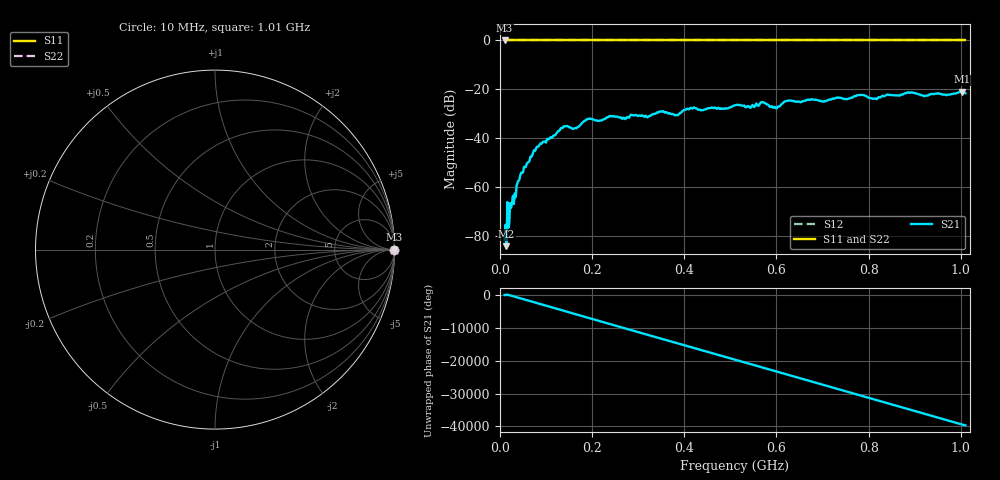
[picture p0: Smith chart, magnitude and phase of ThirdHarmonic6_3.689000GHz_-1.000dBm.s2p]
! 8/17/2025 12:30:43 PM
! C:\ANRITSUVNA\TEMP\TEMP.S2P
! CHANNEL.1
! TR.MEASUREMENT
! RAW.DATA
! RF.CORRECTION.OFF
! AVERAGING.OFF
! IF.BANDWIDTH: 5KHZ
! SWEEPTYPE:  FREQ.SWEEP(Linear)
! Reference Plane Port Info
! PORT:  PORT1  PORT2
! DISTANCE:  0  m  0  m
! TIME:  0  s  0  s
! PHASE.OFFSET:  0  deg.  0  deg.
! LOSS:  0  dB  0  dB
! REF.LOSS:  0  dB  0  dB
! REF.FREQ:  0  Hz  0  Hz
! Power Info
! POWER:  -20  dBm  -20  dBm
! EFF.POWER:  -20  dBm  -20  dBm
! SOURCE.ATTEN:  0  dB  0  dB
! TEST.ATTEN:  0  dB  0  dB
# GHZ S RI R 50.0
! FREQ.GHZ  S11RE  S11IM  S21RE  S21IM  S12RE  S12IM  S22RE  S22IM
!; PortSelection: Port_12
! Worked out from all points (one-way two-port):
!   501 points, 10 MHz to 1.01 GHz, reference 50 ohm
!   highest |S21| = -21.00 dB at 1.002 GHz (marker M1); lowest = -84.4 dB at 14 MHz (marker M2)
!   lowest |S11| = 0.0 dB at 10 MHz (marker M3)
!   |S11| at or under -10 dB: nowhere
!   |S22| runs from 0.0 to 0.0 dB; largest |S21 - S12| = 1.1
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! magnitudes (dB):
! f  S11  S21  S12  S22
! 10 MHz  0.0  -81.7  0.0  0.0
! 14 MHz  0.0  -84.4  0.0  0.0
! 42 MHz  0.0  -57.1  0.0  0.0
! 76 MHz  0.0  -45.3  0.0  0.0
! 136 MHz  0.0  -35.9  0.0  0.0
! 162 MHz  0.0  -36.0  0.0  0.0
! 178 MHz  0.0  -33.8  0.0  0.0
! 192 MHz  0.0  -32.3  0.0  0.0
! 322 MHz  0.0  -31.2  0.0  0.0
! 344 MHz  0.0  -29.6  0.0  0.0
! 382 MHz  0.0  -30.6  0.0  0.0
! 416 MHz  0.0  -27.9  0.0  0.0
! 510 MHz  0.0  -26.6  0.0  0.0
! 570 MHz  0.0  -25.3  0.0  0.0
! 596 MHz  0.0  -27.2  0.0  0.0
! 622 MHz  0.0  -24.8  0.0  0.0
! 678 MHz  0.0  -24.2  0.0  0.0
! 782 MHz  0.0  -22.4  0.0  0.0
! 814 MHz  0.0  -23.8  0.0  0.0
! 844 MHz  0.0  -22.3  0.0  0.0
! 1.002 GHz  0.0  -21.0  0.0  0.0
! 1.01 GHz  0.0  -21.6  0.0  0.0
